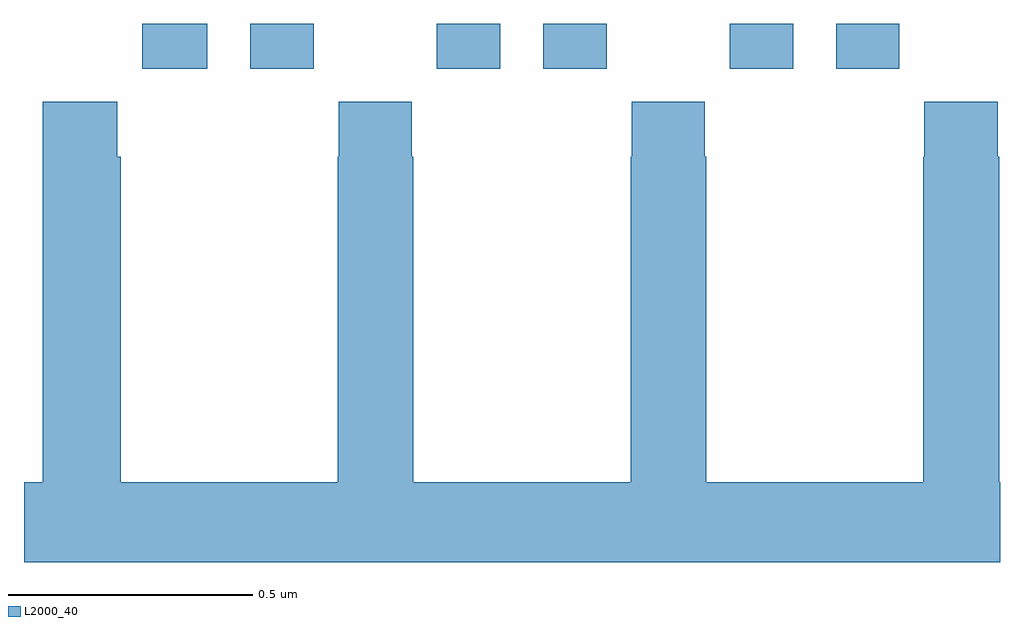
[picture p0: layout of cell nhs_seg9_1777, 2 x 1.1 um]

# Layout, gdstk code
import gdstk
lib = gdstk.Library(unit=1e-6, precision=1e-09)
def R(c, l, rs):  # rectangles x0, y0, x1, y1
    for r in rs: c.add(gdstk.rectangle(r[:2], r[2:], *l))
def P(c, l, *ps):  # polygons
    for p in ps: c.add(gdstk.Polygon(p, *l))
L2000_40 = (2000, 40)

nhs_seg9_1777 = lib.new_cell('nhs_seg9_1777')
R(nhs_seg9_1777, L2000_40, [(132.242,1221.408,132.376,1221.5), (132.464,1221.408,132.594,1221.5), (132.846,1221.408,132.976,1221.5), (133.064,1221.408,133.194,1221.5), (133.446,1221.408,133.576,1221.5), (133.664,1221.408,133.794,1221.5)])
P(nhs_seg9_1777, L2000_40, [(134,1220.56),(133.998,1220.56),(133.998,1221.227),(133.995,1221.227),(133.995,1221.34),(133.845,1221.34),(133.845,1221.227),(133.843,1221.227),(133.843,1220.56),(133.398,1220.56),(133.398,1221.227),(133.395,1221.227),(133.395,1221.34),(133.245,1221.34),(133.245,1221.227),(133.243,1221.227),(133.243,1220.56),(132.798,1220.56),(132.798,1221.227),(132.795,1221.227),(132.795,1221.34),(132.645,1221.34),(132.645,1221.227),(132.643,1221.227),(132.643,1220.56),(132.198,1220.56),(132.198,1221.227),(132.191,1221.227),(132.191,1221.34),(132.038,1221.34),(132.038,1220.56),(132,1220.56),(132,1220.396),(134,1220.396)])

lib.write_gds('nhs_seg9_1777.gds')
